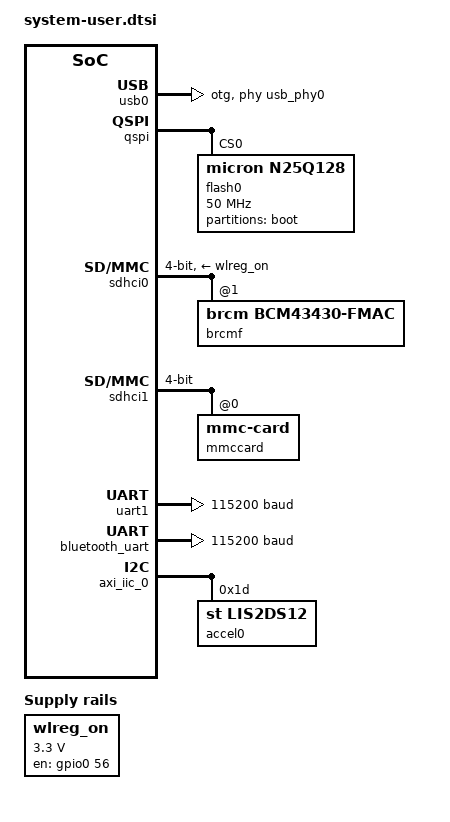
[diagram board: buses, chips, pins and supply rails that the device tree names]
/include/ "system-conf.dtsi"
/ {

	aliases {
		serial0 = &uart1;
		serial1 = &uart0;
	};
	
	/* WiFi Module:  WL_REG_ON GPIO Control */	
	wlreg_on: wlreg-on {
		compatible = "regulator-fixed";
		regulator-name = "wlreg_on";
		enable-active-high;
		gpio = <&gpio0 56 0>;
		regulator-min-microvolt = <3300000>;
		regulator-max-microvolt = <3300000>;
		startup-delay-us = <100>;	
	};

	/***** Uncomment this to use bcmdhd driver instead of brcmfmac driver
	bcmdhd_wlan_0: bcmdhd_wlan@0 { 
		compatible = "android,bcmdhd_wlan";
		wlreg_on-supply = <&wlreg_on>; 	
	}; 	
		/* gpios = <&gpio0 0 4>; */ /* OOB interrupts */
};

&flash0 {
	compatible = "micron,n25q128", "jedec,spi-nor";
};

/{
	usb_phy0: usb_phy@0 {
		compatible = "ulpi-phy";
		#phy-cells = <0>;
		reg = <0xe0002000 0x1000>;
		view-port = <0x0170>;
		drv-vbus;
	};
};

&usb0 {
	dr_mode = "otg";
	usb-phy = <&usb_phy0>;
} ;

/* QSPI addresses are defined with petalinux-config, but here they are overwritten so that one can program the flash internally */
&qspi {
	#address-cells = <1>;
	#size-cells = <0>;
	flash0: flash@0 {
		compatible = "micron,m25p80";
		reg = <0x0>;
		#address-cells = <1>;
		#size-cells = <1>;
		spi-max-frequency = <50000000>;
		partition@0x00000000 {
			label = "boot";
			reg = <0x00000000 0x00ff0000>;
		};
	};
};

/* SD Interface for Wi-Fi Module */
&sdhci0 {
	status = "okay"; 
	bus-width= <4>;
	xlnx,has-cd = <0x0>;
	xlnx,has-power = <0x0>;
	xlnx,has-wp = <0x0>;
	non-removeable;
	broken-cd;
	vmmc-supply = <&wlreg_on>;  /* Uncomment for brcmfmac */
	/* wifi-host; */ /* uncomment for bcmdhd */

	
        brcmf: brcmf@1 {
		status = "okay";
                reg = <1>; 
                compatible = "brcm,bcm43430-fmac";
		/* interrupt-parent = <&gpio0>; */ /* For WL_HOST_WAKE OOB Interrupt */
		/* interrupts = <0 29 8>; */  /* PL-PS direct interrupt, Low Level */
		/* interrupts = <57 8>; */ /* GPIO EMIO 3, Low Level */
		/* interrupt-names = "host-wake"; */
	}; 
};

/* SD Interface for eMMC */
&sdhci1 {
	status = "okay"; 
	non-removeable;
	bus-width= <4>;
	xlnx,has-cd = <0x0>;
	xlnx,has-power = <0x0>;
	xlnx,has-wp = <0x0>;

	mmccard: mmccard@0 {
		reg = <0>;
		compatible = "mmc-card";
		broken-hpi;
	};
};

/* Console UART.  UART1 is tied to the USB serial port on the Zedboard */
&uart1 {
   	status = "okay";
	current-speed = <115200>;
	port-number = <0>;
};

/* Bluetooth UART.  Goes through EMIO to the 1DX */
&bluetooth_uart {
   	status = "okay";
	current-speed = <115200>;
	port-number = <2>;
};

/* AXI IIC.  Interfaces with the ST LIS2DS12 accelerometer */
&axi_iic_0 {
	status = "okay";

	/* MiniZed doesn't support interrupts from the accelerometer */
    	accel0: lis2ds12@1d {
        	compatible = "st,lis2ds12";
        	reg = <0x1d>;
    	};

};

/ {

};
